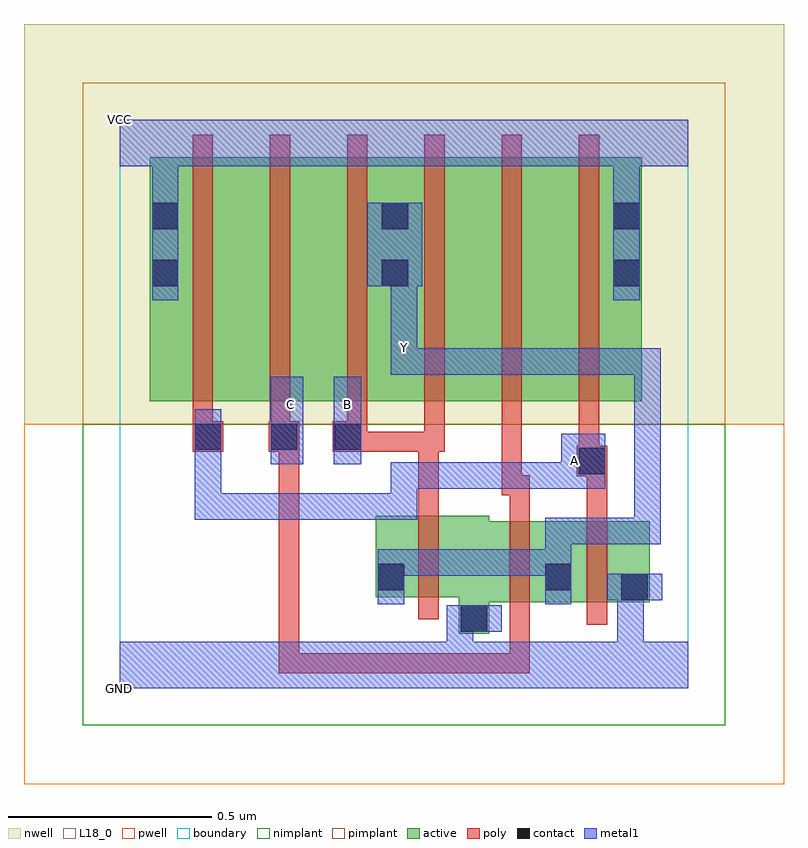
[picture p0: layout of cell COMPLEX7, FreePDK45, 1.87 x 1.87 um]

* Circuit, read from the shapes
.subckt COMPLEX7 A B C GND VCC Y
M1 GND B Y VSUBS nfet w=0.2u l=0.05u
M2 Y C GND VSUBS nfet w=0.2u l=0.05u
M3 GND A Y VSUBS nfet w=0.2u l=0.05u
M4 n1 A VCC n2 pfet w=0.6u l=0.05u
M5 n3 C n1 n2 pfet w=0.6u l=0.05u
M6 Y B n3 n2 pfet w=0.6u l=0.05u
M7 n4 B Y n2 pfet w=0.6u l=0.05u
M8 n5 C n4 n2 pfet w=0.6u l=0.05u
M9 VCC A n5 n2 pfet w=0.6u l=0.05u
.ends

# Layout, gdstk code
import gdstk
lib = gdstk.Library(unit=1e-6, precision=1e-09)
def R(c, l, rs):  # rectangles x0, y0, x1, y1
    for r in rs: c.add(gdstk.rectangle(r[:2], r[2:], *l))
def A(c, l, x, y, w, h, nx, ny, dx, dy):  # array of equal rectangles
    R(c, l, [(x+i*dx, y+j*dy, x+i*dx+w, y+j*dy+h) for i in range(nx) for j in range(ny)])
active = (1, 0)
pwell = (2, 0)
nwell = (3, 0)
nimplant = (4, 0)
pimplant = (5, 0)
poly = (9, 0)
contact = (10, 0)
metal1 = (11, 0)
L18_0 = (18, 0)
boundary = (235, 0)

complex7 = lib.new_cell('COMPLEX7')
R(complex7, active, [(0.835,0.135,0.91,0.337), (0.835,0.212,1.117,0.412), (1.042,0.212,1.117,0.412), (1.042,0.212,1.305,0.412), (1.23,0.212,1.305,0.412), (0.63,0.225,0.91,0.425), (0.63,0.237,0.705,0.425), (0.075,0.707,0.3,1.307), (0.075,0.707,0.15,1.305), (0.3,0.707,0.49,1.307), (0.49,0.707,0.715,1.307), (0.64,0.707,0.87,1.307), (0.64,0.707,0.715,1.2), (0.87,0.707,1.06,1.307), (1.06,0.707,1.285,1.307), (1.21,0.707,1.285,1.307)])
R(complex7, pwell, [(-0.235,-0.235,1.635,0.65)])
R(complex7, nwell, [(-0.235,0.65,1.635,1.635)])
R(complex7, nimplant, [(-0.09,-0.09,1.49,0.65)])
R(complex7, pimplant, [(-0.09,0.65,1.49,1.49)])
A(complex7, poly, 0.18, 0.607, 0.05, 0.095, 3, 1, 0.19, 0)
A(complex7, poly, 0.18, 0.652, 0.05, 0.71, 6, 1, 0.19, 0)
R(complex7, poly, [(0.392,0.037,0.442,0.087), (0.392,0.037,0.442,0.087), (0.392,0.037,0.442,0.087), (0.392,0.037,0.442,0.087), (0.392,0.037,0.442,0.087), (0.392,0.037,0.575,0.087), (0.392,0.037,0.442,0.632), (0.525,0.037,0.575,0.087), (0.525,0.037,0.575,0.087), (0.525,0.037,0.575,0.087), (0.525,0.037,0.742,0.087), (0.692,0.037,0.742,0.087), (0.692,0.037,0.742,0.087), (0.692,0.037,0.742,0.087), (0.692,0.037,1.01,0.087), (0.96,0.037,1.01,0.087), (0.96,0.037,1.01,0.087), (0.96,0.037,1.01,0.087), (0.96,0.037,1.01,0.207), (0.96,0.157,1.01,0.467), (1.15,0.157,1.2,0.467), (0.735,0.17,0.785,0.48), (0.96,0.417,1.01,0.525), (1.15,0.417,1.2,0.572), (0.735,0.43,0.785,0.632), (0.94,0.475,0.99,0.702), (0.94,0.475,1.01,0.525), (0.96,0.475,1.01,0.525), (0.96,0.475,1.01,0.525), (1.125,0.522,1.2,0.597), (1.13,0.547,1.18,0.702), (1.13,0.547,1.18,0.597), (1.13,0.547,1.18,0.597), (0.18,0.582,0.255,0.657), (0.367,0.582,0.442,0.657), (0.392,0.582,0.442,0.632), (0.392,0.582,0.442,0.632), (0.525,0.582,0.61,0.657), (0.56,0.582,0.785,0.632), (0.735,0.582,0.785,0.632), (0.735,0.582,0.785,0.632), (0.735,0.582,0.785,0.632), (0.735,0.582,0.785,0.632), (0.735,0.582,0.8,0.632), (0.75,0.582,0.8,0.702), (0.18,0.607,0.23,0.657), (0.18,0.607,0.23,0.657)])
R(complex7, contact, [(0.84,0.14,0.905,0.205), (1.235,0.217,1.3,0.282), (0.635,0.242,0.7,0.307), (1.047,0.242,1.112,0.307), (1.13,0.527,1.195,0.592), (0.185,0.587,0.25,0.652), (0.372,0.587,0.437,0.652), (0.53,0.587,0.595,0.652), (0.08,0.99,0.145,1.055), (0.645,0.99,0.71,1.055), (1.215,0.99,1.28,1.055), (0.08,1.13,0.145,1.195), (0.645,1.13,0.71,1.195), (1.215,1.13,1.28,1.195)])
R(complex7, metal1, [(0,0,1.4,0.115), (0.805,0.05,0.87,0.115), (0.805,0.05,0.87,0.115), (0.805,0.05,0.87,0.115), (0.805,0.05,0.87,0.115), (0.805,0.05,0.87,0.205), (1.225,0.05,1.29,0.115), (1.225,0.05,1.29,0.115), (1.225,0.05,1.29,0.282), (0.805,0.14,0.94,0.205), (0.635,0.207,0.7,0.342), (1.047,0.207,1.112,0.342), (1.2,0.217,1.335,0.282), (1.225,0.217,1.29,0.282), (1.225,0.217,1.29,0.282), (0.635,0.277,0.732,0.342), (0.667,0.277,0.732,0.342), (0.667,0.277,0.87,0.342), (0.805,0.277,0.87,0.342), (0.805,0.277,0.87,0.342), (0.805,0.277,0.87,0.342), (0.805,0.277,1.112,0.342), (1.047,0.277,1.112,0.342), (1.047,0.277,1.112,0.42), (1.047,0.355,1.332,0.42), (1.267,0.355,1.332,0.42), (1.267,0.355,1.332,0.837), (0.185,0.415,0.455,0.48), (0.185,0.415,0.25,0.617), (0.39,0.415,0.455,0.48), (0.39,0.415,0.455,0.48), (0.39,0.415,0.455,0.48), (0.39,0.415,0.592,0.48), (0.527,0.415,0.592,0.48), (0.527,0.415,0.732,0.48), (0.667,0.415,0.732,0.517), (0.667,0.452,0.732,0.517), (0.667,0.452,0.732,0.557), (0.667,0.492,0.87,0.557), (0.805,0.492,0.87,0.557), (0.805,0.492,0.87,0.557), (0.805,0.492,0.87,0.557), (0.805,0.492,1.127,0.557), (1.062,0.492,1.127,0.557), (1.062,0.492,1.152,0.557), (1.087,0.492,1.195,0.627), (0.185,0.552,0.25,0.617), (0.185,0.552,0.25,0.687), (0.372,0.552,0.452,0.767), (0.527,0.552,0.595,0.767), (0.667,0.772,0.732,0.837), (0.667,0.772,0.732,0.837), (0.667,0.772,0.732,0.907), (0.667,0.772,0.975,0.837), (0.91,0.772,0.975,0.837), (0.91,0.772,0.975,0.837), (0.91,0.772,0.975,0.837), (0.91,0.772,1.127,0.837), (1.062,0.772,1.127,0.837), (1.062,0.772,1.127,0.837), (1.062,0.772,1.127,0.837), (1.062,0.772,1.332,0.837), (1.267,0.772,1.332,0.837), (1.267,0.772,1.332,0.837), (1.267,0.772,1.332,0.837), (0.667,0.842,0.732,1.055), (0.08,0.955,0.145,1.23), (1.215,0.955,1.28,1.23), (0.61,0.99,0.745,1.195), (0.08,1.165,0.145,1.35), (1.215,1.165,1.28,1.35), (0,1.285,1.4,1.4)])
R(complex7, L18_0, [(0,0,1.4,0.115), (0.805,0.05,0.87,0.115), (0.805,0.05,0.87,0.115), (0.805,0.05,0.87,0.115), (0.805,0.05,0.87,0.115), (0.805,0.05,0.87,0.205), (1.225,0.05,1.29,0.115), (1.225,0.05,1.29,0.115), (1.225,0.05,1.29,0.282), (0.805,0.14,0.94,0.205), (0.635,0.207,0.7,0.342), (1.047,0.207,1.112,0.342), (1.2,0.217,1.335,0.282), (1.225,0.217,1.29,0.282), (1.225,0.217,1.29,0.282), (0.635,0.277,0.732,0.342), (0.667,0.277,0.732,0.342), (0.667,0.277,0.87,0.342), (0.805,0.277,0.87,0.342), (0.805,0.277,0.87,0.342), (0.805,0.277,0.87,0.342), (0.805,0.277,1.112,0.342), (1.047,0.277,1.112,0.342), (1.047,0.277,1.112,0.42), (1.047,0.355,1.332,0.42), (1.267,0.355,1.332,0.42), (1.267,0.355,1.332,0.837), (0.185,0.415,0.25,0.617), (0.185,0.415,0.455,0.48), (0.39,0.415,0.455,0.48), (0.39,0.415,0.455,0.48), (0.39,0.415,0.455,0.48), (0.39,0.415,0.592,0.48), (0.527,0.415,0.592,0.48), (0.527,0.415,0.732,0.48), (0.667,0.415,0.732,0.517), (0.667,0.452,0.732,0.517), (0.667,0.452,0.732,0.557), (0.667,0.492,0.87,0.557), (0.805,0.492,0.87,0.557), (0.805,0.492,0.87,0.557), (0.805,0.492,0.87,0.557), (0.805,0.492,1.127,0.557), (1.062,0.492,1.127,0.557), (1.062,0.492,1.152,0.557), (1.087,0.492,1.195,0.627), (1.087,0.527,1.152,0.592), (0.185,0.552,0.25,0.687), (0.185,0.552,0.25,0.617), (0.372,0.552,0.452,0.767), (0.527,0.552,0.595,0.767), (0.387,0.667,0.452,0.732), (0.527,0.667,0.592,0.732), (0.667,0.772,0.732,0.907), (0.667,0.772,0.732,0.837), (0.667,0.772,0.732,0.837), (0.667,0.772,0.975,0.837), (0.91,0.772,0.975,0.837), (0.91,0.772,0.975,0.837), (0.91,0.772,0.975,0.837), (0.91,0.772,1.127,0.837), (1.062,0.772,1.127,0.837), (1.062,0.772,1.127,0.837), (1.062,0.772,1.127,0.837), (1.062,0.772,1.332,0.837), (1.267,0.772,1.332,0.837), (1.267,0.772,1.332,0.837), (1.267,0.772,1.332,0.837), (0.667,0.807,0.732,0.872), (0.667,0.842,0.732,1.055), (0.08,0.955,0.145,1.23), (1.215,0.955,1.28,1.23), (0.61,0.99,0.745,1.195), (0.08,1.165,0.145,1.35), (1.215,1.165,1.28,1.35), (0,1.285,1.4,1.4)])
R(complex7, boundary, [(0,0,1.4,1.4)])
complex7.add(gdstk.Label('A', (1.12,0.56), layer=11, texttype=0))
complex7.add(gdstk.Label('B', (0.56,0.7), layer=11, texttype=0))
complex7.add(gdstk.Label('C', (0.42,0.7), layer=11, texttype=0))
complex7.add(gdstk.Label('Y', (0.7,0.84), layer=11, texttype=0))
complex7.add(gdstk.Label('VCC', (0,1.4), layer=11, texttype=0))
complex7.add(gdstk.Label('GND', (0,0), layer=11, texttype=0))

lib.write_gds('COMPLEX7.gds')
